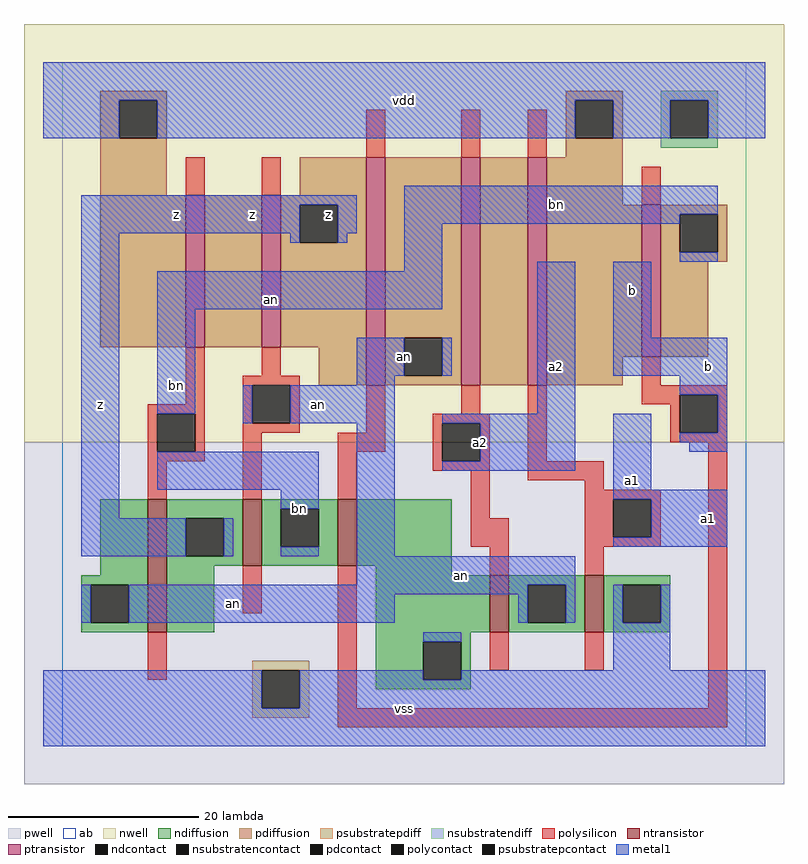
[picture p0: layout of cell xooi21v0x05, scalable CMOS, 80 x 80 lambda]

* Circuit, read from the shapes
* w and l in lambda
.subckt xooi21v0x05 a1 a2 an b bn vdd vss z
M1 z bn an vss nfet w=14 l=2
M2 bn an z vss nfet w=7 l=2
M3 vss b bn vss nfet w=7 l=2
M4 an a2 vss vss nfet w=6 l=2
M5 vss a1 an vss nfet w=6 l=2
M6 n1 bn vdd vdd pfet w=16 l=2
M7 z an n1 vdd pfet w=16 l=2
M8 an b z vdd pfet w=24 l=2
M9 n2 a2 an vdd pfet w=24 l=2
M10 vdd a1 n2 vdd pfet w=24 l=2
M11 bn b vdd vdd pfet w=16 l=2
.ends

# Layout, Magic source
magic
tech scmos
<< ab >>
rect 0 0 72 72
<< pwell >>
rect -4 -4 76 32
<< nwell >>
rect -4 32 76 76
<< polysilicon >>
rect 32 62 34 67
rect 42 62 44 67
rect 49 62 51 67
rect 13 58 15 62
rect 21 58 23 62
rect 13 36 15 42
rect 21 39 23 42
rect 9 35 15 36
rect 9 31 10 35
rect 14 31 15 35
rect 9 30 15 31
rect 19 38 25 39
rect 61 57 63 61
rect 61 38 63 41
rect 19 34 20 38
rect 24 34 25 38
rect 19 33 25 34
rect 32 33 34 38
rect 42 35 44 38
rect 9 26 11 30
rect 19 26 21 33
rect 29 31 34 33
rect 39 34 45 35
rect 29 26 31 31
rect 39 30 40 34
rect 44 30 45 34
rect 39 29 45 30
rect 43 24 45 29
rect 49 30 51 38
rect 61 37 70 38
rect 61 36 65 37
rect 64 33 65 36
rect 69 33 70 37
rect 64 32 70 33
rect 49 28 57 30
rect 55 27 57 28
rect 55 26 63 27
rect 43 21 47 24
rect 19 14 21 19
rect 9 7 11 12
rect 29 4 31 19
rect 45 18 47 21
rect 55 22 58 26
rect 62 22 63 26
rect 55 21 63 22
rect 55 18 57 21
rect 45 8 47 12
rect 55 8 57 12
rect 68 4 70 32
rect 29 2 70 4
<< ndiffusion >>
rect 4 18 9 26
rect 2 17 9 18
rect 2 13 3 17
rect 7 13 9 17
rect 2 12 9 13
rect 11 24 19 26
rect 11 20 13 24
rect 17 20 19 24
rect 11 19 19 20
rect 21 25 29 26
rect 21 21 23 25
rect 27 21 29 25
rect 21 19 29 21
rect 31 19 41 26
rect 11 12 16 19
rect 33 18 41 19
rect 33 12 45 18
rect 47 17 55 18
rect 47 13 49 17
rect 53 13 55 17
rect 47 12 55 13
rect 57 17 64 18
rect 57 13 59 17
rect 63 13 64 17
rect 57 12 64 13
rect 33 11 43 12
rect 33 7 38 11
rect 42 7 43 11
rect 33 6 43 7
<< pdiffusion >>
rect 4 68 11 69
rect 4 64 6 68
rect 10 64 11 68
rect 53 68 59 69
rect 4 58 11 64
rect 53 64 54 68
rect 58 64 59 68
rect 53 62 59 64
rect 25 58 32 62
rect 4 42 13 58
rect 15 42 21 58
rect 23 57 32 58
rect 23 53 25 57
rect 29 53 32 57
rect 23 42 32 53
rect 27 38 32 42
rect 34 43 42 62
rect 34 39 36 43
rect 40 39 42 43
rect 34 38 42 39
rect 44 38 49 62
rect 51 57 59 62
rect 51 41 61 57
rect 63 56 70 57
rect 63 52 65 56
rect 69 52 70 56
rect 63 51 70 52
rect 63 41 68 51
rect 51 38 59 41
<< metal1 >>
rect -2 68 74 72
rect -2 64 6 68
rect 10 64 54 68
rect 58 64 64 68
rect 68 64 74 68
rect 2 57 31 58
rect 2 54 25 57
rect 2 24 6 54
rect 24 53 25 54
rect 29 54 31 57
rect 36 56 69 59
rect 36 55 65 56
rect 29 53 30 54
rect 36 50 40 55
rect 65 51 69 52
rect 10 46 40 50
rect 10 35 14 46
rect 31 39 36 43
rect 40 39 41 43
rect 31 38 35 39
rect 19 34 20 38
rect 24 34 35 38
rect 50 35 54 51
rect 58 43 62 51
rect 58 39 70 43
rect 65 37 70 39
rect 10 27 27 31
rect 23 25 27 27
rect 2 20 13 24
rect 17 20 18 24
rect 23 20 27 21
rect 31 20 35 34
rect 40 34 54 35
rect 44 30 54 34
rect 40 29 54 30
rect 58 27 62 35
rect 69 33 70 37
rect 65 32 70 33
rect 66 31 70 32
rect 58 26 70 27
rect 62 22 70 26
rect 58 21 70 22
rect 31 17 54 20
rect 2 13 3 17
rect 7 16 49 17
rect 7 13 35 16
rect 48 13 49 16
rect 53 13 54 17
rect 58 13 59 17
rect 63 13 64 17
rect 38 11 42 12
rect -2 4 21 8
rect 25 7 38 8
rect 58 8 64 13
rect 42 7 74 8
rect 25 4 74 7
rect -2 0 74 4
<< ntransistor >>
rect 9 12 11 26
rect 19 19 21 26
rect 29 19 31 26
rect 45 12 47 18
rect 55 12 57 18
<< ptransistor >>
rect 13 42 15 58
rect 21 42 23 58
rect 32 38 34 62
rect 42 38 44 62
rect 49 38 51 62
rect 61 41 63 57
<< polycontact >>
rect 10 31 14 35
rect 20 34 24 38
rect 40 30 44 34
rect 65 33 69 37
rect 58 22 62 26
<< ndcontact >>
rect 3 13 7 17
rect 13 20 17 24
rect 23 21 27 25
rect 49 13 53 17
rect 59 13 63 17
rect 38 7 42 11
<< pdcontact >>
rect 6 64 10 68
rect 54 64 58 68
rect 25 53 29 57
rect 36 39 40 43
rect 65 52 69 56
<< psubstratepcontact >>
rect 21 4 25 8
<< nsubstratencontact >>
rect 64 64 68 68
<< psubstratepdiff >>
rect 20 8 26 9
rect 20 4 21 8
rect 25 4 26 8
rect 20 3 26 4
<< nsubstratendiff >>
rect 63 68 69 69
rect 63 64 64 68
rect 68 64 69 68
rect 63 63 69 64
<< labels >>
rlabel ptransistor 22 47 22 47 6 an
rlabel metal1 4 36 4 36 6 z
rlabel metal1 12 38 12 38 6 bn
rlabel metal1 12 56 12 56 6 z
rlabel metal1 18 15 18 15 6 an
rlabel metal1 25 25 25 25 6 bn
rlabel metal1 27 36 27 36 6 an
rlabel pdcontact 28 56 28 56 6 z
rlabel metal1 20 56 20 56 6 z
rlabel metal1 36 4 36 4 6 vss
rlabel metal1 42 18 42 18 6 an
rlabel metal1 44 32 44 32 6 a2
rlabel metal1 52 40 52 40 6 a2
rlabel metal1 36 41 36 41 6 an
rlabel metal1 36 68 36 68 6 vdd
rlabel metal1 60 28 60 28 6 a1
rlabel metal1 68 24 68 24 6 a1
rlabel metal1 68 40 68 40 6 b
rlabel metal1 60 48 60 48 6 b
rlabel metal1 52 57 52 57 6 bn
<< end >>
